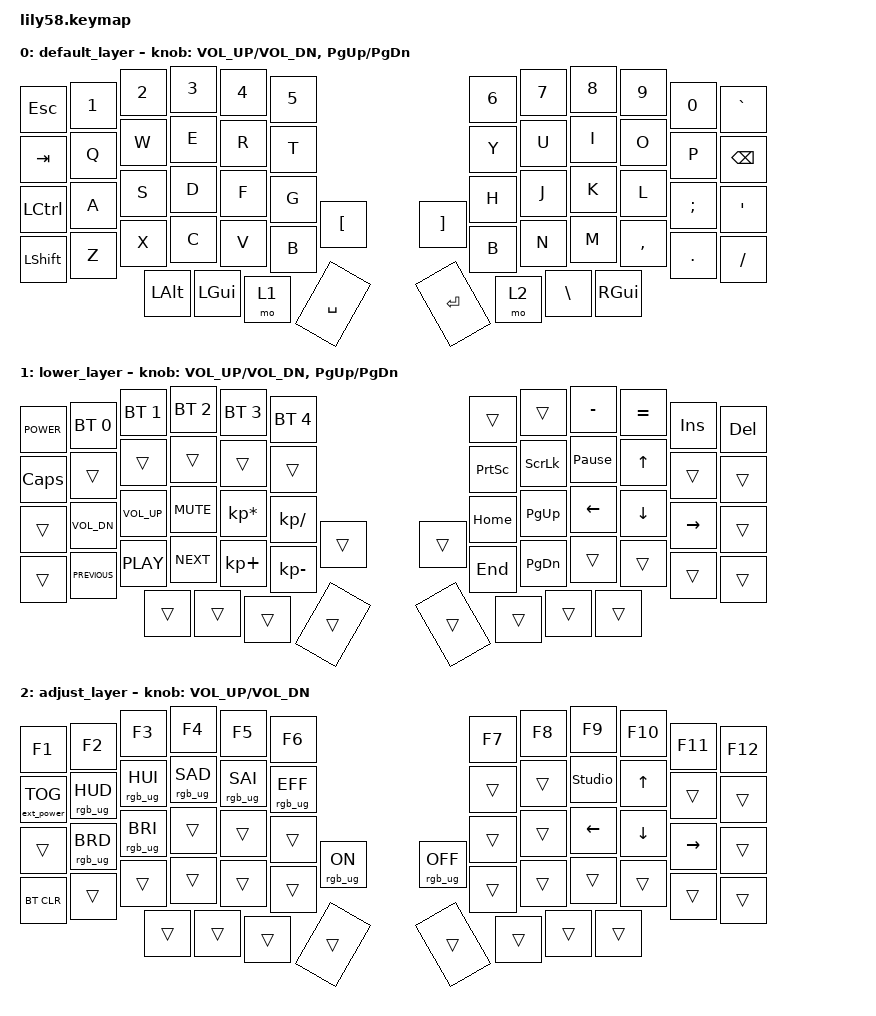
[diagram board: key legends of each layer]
/*
 * Copyright (c) 2020 The ZMK Contributors
 *
 * SPDX-License-Identifier: MIT
 */

#include <behaviors.dtsi>
#include <dt-bindings/zmk/bt.h>
#include <dt-bindings/zmk/ext_power.h>
#include <dt-bindings/zmk/keys.h>
#include <dt-bindings/zmk/rgb.h>

/ {
    // Activate ADJUST layer by pressing raise and lower

    conditional_layers {
        compatible = "zmk,conditional-layers";

        adjust_layer {
            if-layers = <1 2>;
            then-layer = <3>;
        };
    };

    keymap {
        compatible = "zmk,keymap";

        default_layer {
            // ------------------------------------------------------------------------------------------------------------
            // |  ESC  |  1  |  2  |  3   |  4   |  5   |                   |  6   |  7    |  8    |  9   |   0   |   `   |
            // |  TAB  |  Q  |  W  |  E   |  R   |  T   |                   |  Y   |  U    |  I    |  O   |   P   |   -   |
            // |  CTRL |  A  |  S  |  D   |  F   |  G   |                   |  H   |  J    |  K    |  L   |   ;   |   '   |
            // | SHIFT |  Z  |  X  |  C   |  V   |  B   |  MUTE  |  |RGB_TOG|  N   |  M    |  ,    |  .   |   /   | SHIFT |
            //                     | ALT  | GUI  | LOWER|  SPACE |  | ENTER | RAISE| BSPC  | GUI   |

            bindings = <
&kp ESC    &kp N1  &kp N2  &kp N3    &kp N4    &kp N5                                         &kp N6  &kp N7         &kp N8    &kp N9     &kp N0    &kp GRAVE
&kp TAB    &kp Q   &kp W   &kp E     &kp R     &kp T                                          &kp Y   &kp U          &kp I     &kp O      &kp P     &kp BSPC
&kp LCTRL  &kp A   &kp S   &kp D     &kp F     &kp G                                          &kp H   &kp J          &kp K     &kp L      &kp SEMI  &kp SQT
&kp LSHFT  &kp Z   &kp X   &kp C     &kp V     &kp B   &kp LEFT_BRACKET    &kp RIGHT_BRACKET  &kp B   &kp N          &kp M     &kp COMMA  &kp DOT   &kp SLASH
                           &kp LALT  &kp LGUI  &mo 1   &kp SPACE           &kp RET            &mo 2   &kp BACKSLASH  &kp RGUI
            >;

            sensor-bindings = <&inc_dec_kp C_VOL_UP C_VOL_DN &inc_dec_kp PG_UP PG_DN>;
        };

        lower_layer {
            // ------------------------------------------------------------------------------------------------------------
            // | BTCLR | BT1 | BT2 |  BT3 |  BT4 |  BT5 |                   |      |       |       |      |       |       |
            // |  F1   |  F2 |  F3 |  F4  |  F5  |  F6  |                   |  F7  |  F8   |  F9   |  F10 |  F11  |  F12  |
            // |   `   |  !  |  @  |  #   |  $   |  %   |                   |  ^   |  &    |  *    |  (   |   )   |   ~   |
            // |EXTPWR |     |     |      |      |      |        |  |       |      |  _    |  +    |  {   |   }   |  "|"  |
            //                     |      |      |      |        |  |       |      |       |       |

            bindings = <
&kp C_POWER  &bt BT_SEL 0    &bt BT_SEL 1     &bt BT_SEL 2  &bt BT_SEL 3     &bt BT_SEL 4                     &trans           &trans          &kp MINUS        &kp EQUAL  &kp INS    &kp DEL
&kp CAPS     &trans          &trans           &trans        &trans           &trans                           &kp PRINTSCREEN  &kp SCROLLLOCK  &kp PAUSE_BREAK  &kp UP     &trans     &trans
&trans       &kp C_VOL_DN    &kp C_VOLUME_UP  &kp C_MUTE    &kp KP_MULTIPLY  &kp KP_DIVIDE                    &kp HOME         &kp PAGE_UP     &kp LEFT         &kp DOWN   &kp RIGHT  &trans
&trans       &kp C_PREVIOUS  &kp C_PLAY       &kp C_NEXT    &kp KP_PLUS      &kp KP_MINUS   &trans    &trans  &kp END          &kp PAGE_DOWN   &trans           &trans     &trans     &trans
                                              &trans        &trans           &trans         &trans    &trans  &trans           &trans          &trans
            >;

            sensor-bindings = <&inc_dec_kp C_VOL_UP C_VOL_DN &inc_dec_kp PG_UP PG_DN>;
        };

        adjust_layer {
            // ----------------------------------------------------------------------------------------------------------------------------
            // | BTCLR  |  BT1    |  BT2    |   BT3   |   BT4   |   BT5   |                  |      |      |       |      |       |       |
            // | EXTPWR | RGB_HUD | RGB_HUI | RGB_SAD | RGB_SAI | RGB_EFF |                  |      |      |       |      |       |       |
            // |        | RGB_BRD | RGB_BRI |         |         |         |                  |      |      |       |      |       |       |
            // |        |         |         |         |         |         | RGB_TOG | |      |      |      |       |      |       |       |
            //                    |         |         |         |         |         | |      |      |      |       |      |

            bindings = <
&kp F1             &kp F2           &kp F3           &kp F4           &kp F5           &kp F6                                              &kp F7  &kp F8  &kp F9    &kp F10   &kp F11    &kp F12
&ext_power EP_TOG  &rgb_ug RGB_HUD  &rgb_ug RGB_HUI  &rgb_ug RGB_SAD  &rgb_ug RGB_SAI  &rgb_ug RGB_EFF                                     &trans  &trans  &studio_unlock &kp UP    &trans     &trans
&trans             &rgb_ug RGB_BRD  &rgb_ug RGB_BRI  &trans           &trans           &trans                                              &trans  &trans  &kp LEFT  &kp DOWN  &kp RIGHT  &trans
&bt BT_CLR         &trans           &trans           &trans           &trans           &trans           &rgb_ug RGB_ON    &rgb_ug RGB_OFF  &trans  &trans  &trans    &trans    &trans     &trans
                                                     &trans           &trans           &trans           &trans            &trans           &trans  &trans  &trans
            >;

            sensor-bindings = <&inc_dec_kp C_VOL_UP C_VOL_DN>;
        };

        extra1 { status = "reserved"; };

        extra2 { status = "reserved"; };

        extra3 { status = "reserved"; };

        extra4 { status = "reserved"; };

        extra5 { status = "reserved"; };
    };
};
